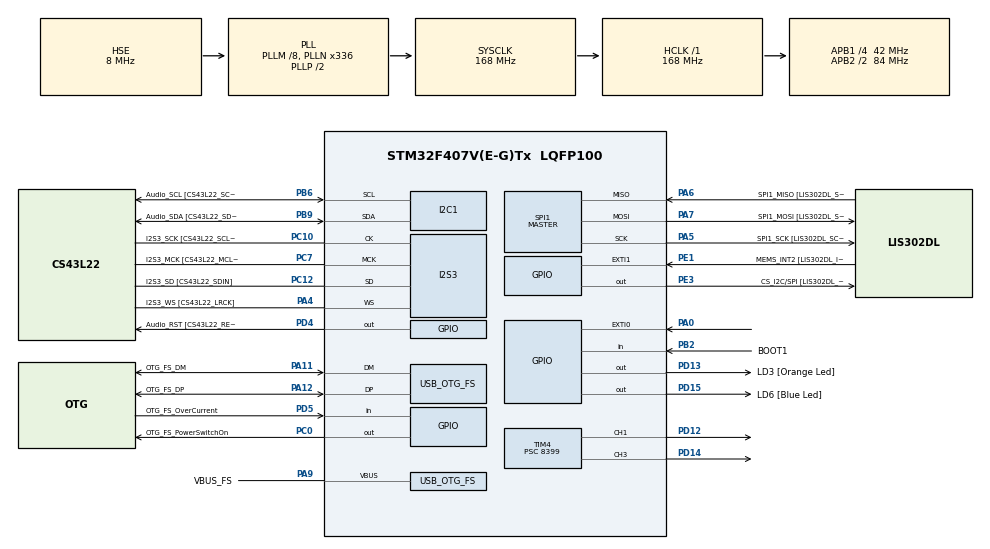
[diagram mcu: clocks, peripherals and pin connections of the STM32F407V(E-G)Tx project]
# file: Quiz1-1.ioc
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I2S3.AudioFreq-Half_Duplex_Master=I2S_AUDIOFREQ_96K
I2S3.ErrorAudioFreq=-2.34 %
I2S3.ErrorAudioFreq-Half_Duplex_Master=0.8 %
I2S3.FullDuplexMode=I2S_FULLDUPLEXMODE_DISABLE
I2S3.Instance=SPI$Index
I2S3.RealAudioFreq=93.75 KHz
I2S3.RealAudioFreq-Half_Duplex_Master=96.774 KHz
I2S3.VirtualMode=I2S_MODE_MASTER
Mcu.Family=STM32F4
Mcu.Name=STM32F407V(E-G)Tx
Mcu.Package=LQFP100
NVIC.EXTI0_IRQn=true\:1\:0\:true\:false\:true\:true\:true
NVIC.OTG_FS_IRQn=true\:0\:0\:false\:false\:true\:true\:true
NVIC.PriorityGroup=NVIC_PRIORITYGROUP_1
PA0-WKUP.Signal=GPXTI0
PA10.GPIO_Label=OTG_FS_ID
PA10.GPIO_Mode=GPIO_MODE_AF_PP
PA10.GPIO_PuPd=GPIO_NOPULL
PA10.GPIO_Speed=GPIO_SPEED_FREQ_LOW
PA10.Signal=USB_OTG_FS_ID
PA11.GPIO_Label=OTG_FS_DM
PA11.GPIO_Mode=GPIO_MODE_AF_PP
PA11.GPIO_PuPd=GPIO_NOPULL
PA11.GPIO_Speed=GPIO_SPEED_FREQ_LOW
PA11.Mode=Host_Only
PA11.Signal=USB_OTG_FS_DM
PA12.GPIO_Label=OTG_FS_DP
PA12.GPIO_Mode=GPIO_MODE_AF_PP
PA12.GPIO_PuPd=GPIO_NOPULL
PA12.GPIO_Speed=GPIO_SPEED_FREQ_LOW
PA12.Mode=Host_Only
PA12.Signal=USB_OTG_FS_DP
PA13.GPIO_Label=SWDIO
PA13.Mode=Serial_Wire
PA13.Signal=SYS_JTMS-SWDIO
PA14.GPIO_Label=SWCLK
PA14.Mode=Serial_Wire
PA14.Signal=SYS_JTCK-SWCLK
PA4.GPIO_Label=I2S3_WS [CS43L22_LRCK]
PA4.GPIO_Mode=GPIO_MODE_AF_PP
PA4.GPIO_PuPd=GPIO_NOPULL
PA4.GPIO_Speed=GPIO_SPEED_FREQ_LOW
PA4.Mode=Half_Duplex_Master
PA4.Signal=I2S3_WS
PA5.GPIO_Label=SPI1_SCK [LIS302DL_SCL/SPC]
PA5.GPIO_Mode=GPIO_MODE_AF_PP
PA5.GPIO_PuPd=GPIO_NOPULL
PA5.GPIO_Speed=GPIO_SPEED_FREQ_LOW
PA5.Mode=Full_Duplex_Master
PA5.Signal=SPI1_SCK
PA6.GPIO_Label=SPI1_MISO [LIS302DL_SDO]
PA6.GPIO_Mode=GPIO_MODE_AF_PP
PA6.GPIO_PuPd=GPIO_NOPULL
PA6.GPIO_Speed=GPIO_SPEED_FREQ_LOW
PA6.Mode=Full_Duplex_Master
PA6.Signal=SPI1_MISO
PA7.GPIO_Label=SPI1_MOSI [LIS302DL_SDA/SDI/SDO]
PA7.GPIO_Mode=GPIO_MODE_AF_PP
PA7.GPIO_PuPd=GPIO_NOPULL
PA7.GPIO_Speed=GPIO_SPEED_FREQ_LOW
PA7.Mode=Full_Duplex_Master
PA7.Signal=SPI1_MOSI
PA9.GPIO_Label=VBUS_FS
PA9.GPIO_Mode=GPIO_MODE_INPUT
PA9.GPIO_PuPd=GPIO_NOPULL
PA9.Mode=Activate_VBUS
PA9.Signal=USB_OTG_FS_VBUS
PB10.GPIO_Label=CLK_IN [MP45DT02_CLK]
PB10.GPIO_Mode=GPIO_MODE_AF_PP
PB10.GPIO_PuPd=GPIO_NOPULL
PB10.GPIO_Speed=GPIO_SPEED_FREQ_LOW
PB10.Signal=I2S2_CK
PB2.GPIO_Label=BOOT1
PB2.GPIO_Mode=GPIO_MODE_INPUT
PB2.GPIO_PuPd=GPIO_NOPULL
PB2.Signal=GPIO_Input
PB3.GPIO_Label=SWO
PB3.Signal=SYS_JTDO-SWO
PB6.GPIO_Label=Audio_SCL [CS43L22_SCL]
PB6.GPIO_Mode=GPIO_MODE_AF_OD
PB6.GPIO_PuPd=GPIO_NOPULL
PB6.GPIO_Speed=GPIO_SPEED_FREQ_LOW
PB6.Mode=I2C
PB6.Signal=I2C1_SCL
PB9.GPIO_Label=Audio_SDA [CS43L22_SDA]
PB9.GPIO_Mode=GPIO_MODE_AF_OD
PB9.GPIO_PuPd=GPIO_NOPULL
PB9.GPIO_Speed=GPIO_SPEED_FREQ_LOW
PB9.Mode=I2C
PB9.Signal=I2C1_SDA
PC0.GPIO_Label=OTG_FS_PowerSwitchOn
PC0.GPIO_PuPd=GPIO_NOPULL
PC0.GPIO_Speed=GPIO_SPEED_FREQ_LOW
PC0.PinState=GPIO_PIN_SET
PC0.Signal=GPIO_Output
PC10.GPIO_Label=I2S3_SCK [CS43L22_SCLK]
PC10.GPIO_Mode=GPIO_MODE_AF_PP
PC10.GPIO_PuPd=GPIO_NOPULL
PC10.GPIO_Speed=GPIO_SPEED_FREQ_LOW
PC10.Mode=Half_Duplex_Master
PC10.Signal=I2S3_CK
PC12.GPIO_Label=I2S3_SD [CS43L22_SDIN]
PC12.GPIO_Mode=GPIO_MODE_AF_PP
PC12.GPIO_PuPd=GPIO_NOPULL
PC12.GPIO_Speed=GPIO_SPEED_FREQ_LOW
PC12.Mode=Half_Duplex_Master
PC12.Signal=I2S3_SD
PC14-OSC32_IN.GPIO_Label=PC14-OSC32_IN
PC14-OSC32_IN.Mode=LSE-External-Oscillator
PC14-OSC32_IN.Signal=RCC_OSC32_IN
PC15-OSC32_OUT.GPIO_Label=PC15-OSC32_OUT
PC15-OSC32_OUT.Mode=LSE-External-Oscillator
PC15-OSC32_OUT.Signal=RCC_OSC32_OUT
PC3.GPIO_Label=PDM_OUT [MP45DT02_DOUT]
PC3.GPIO_Mode=GPIO_MODE_AF_PP
PC3.GPIO_PuPd=GPIO_NOPULL
PC3.GPIO_Speed=GPIO_SPEED_FREQ_LOW
PC3.Signal=I2S2_SD
PC7.GPIO_Label=I2S3_MCK [CS43L22_MCLK]
PC7.GPIO_Mode=GPIO_MODE_AF_PP
PC7.GPIO_PuPd=GPIO_NOPULL
PC7.GPIO_Speed=GPIO_SPEED_FREQ_LOW
PC7.Mode=Master_Clock_Activated
PC7.Signal=I2S3_MCK
PD12.Signal=S_TIM4_CH1
PD13.GPIO_Label=LD3 [Orange Led]
PD13.GPIO_PuPd=GPIO_NOPULL
PD13.GPIO_Speed=GPIO_SPEED_FREQ_LOW
PD13.Signal=GPIO_Output
PD14.Signal=S_TIM4_CH3
PD15.GPIO_Label=LD6 [Blue Led]
PD15.GPIO_PuPd=GPIO_NOPULL
PD15.GPIO_Speed=GPIO_SPEED_FREQ_LOW
PD15.Signal=GPIO_Output
PD4.GPIO_Label=Audio_RST [CS43L22_RESET]
PD4.GPIO_PuPd=GPIO_NOPULL
PD4.GPIO_Speed=GPIO_SPEED_FREQ_LOW
PD4.Signal=GPIO_Output
PD5.GPIO_Label=OTG_FS_OverCurrent
PD5.GPIO_Mode=GPIO_MODE_INPUT
PD5.GPIO_PuPd=GPIO_NOPULL
PD5.Signal=GPIO_Input
PE1.GPIO_Label=MEMS_INT2 [LIS302DL_INT2]
PE1.GPIO_ModeDefaultEXTI=GPIO_MODE_EVT_RISING
PE1.GPIO_PuPd=GPIO_NOPULL
PE1.Signal=GPXTI1
PE3.GPIO_Label=CS_I2C/SPI [LIS302DL_CS_I2C/SPI]
PE3.GPIO_PuPd=GPIO_NOPULL
PE3.GPIO_Speed=GPIO_SPEED_FREQ_LOW
PE3.Signal=GPIO_Output
PH0-OSC_IN.GPIO_Label=PH0-OSC_IN
PH0-OSC_IN.Mode=HSE-External-Oscillator
PH0-OSC_IN.Signal=RCC_OSC_IN
PH1-OSC_OUT.GPIO_Label=PH1-OSC_OUT
PH1-OSC_OUT.Mode=HSE-External-Oscillator
PH1-OSC_OUT.Signal=RCC_OSC_OUT
ProjectManager.HeapSize=0x200
ProjectManager.StackSize=0x400
ProjectManager.TargetToolchain=STM32CubeIDE
RCC.48MHZClocksFreq_Value=48000000
RCC.AHBFreq_Value=168000000
RCC.APB1CLKDivider=RCC_HCLK_DIV4
RCC.APB1Freq_Value=42000000
RCC.APB1TimFreq_Value=84000000
RCC.APB2CLKDivider=RCC_HCLK_DIV2
RCC.APB2Freq_Value=84000000
RCC.APB2TimFreq_Value=168000000
RCC.CortexFreq_Value=168000000
RCC.HCLKFreq_Value=168000000
RCC.HSE_VALUE=8000000
RCC.HSI_VALUE=16000000
RCC.PLLM=8
RCC.PLLN=336
RCC.PLLQ=7
RCC.SYSCLKFreq_VALUE=168000000
RCC.SYSCLKSource=RCC_SYSCLKSOURCE_PLLCLK
RCC.VCOOutputFreq_Value=336000000
SH.S_TIM4_CH1.0=TIM4_CH1,PWM Generation1 CH1
SH.S_TIM4_CH3.0=TIM4_CH3,PWM Generation3 CH3
SPI1.BaudRatePrescaler-Full_Duplex_Master=SPI_BAUDRATEPRESCALER_2
SPI1.CalculateBaudRate-Full_Duplex_Master=42.0 MBits/s
SPI1.Direction=SPI_DIRECTION_2LINES
SPI1.Mode=SPI_MODE_MASTER
SPI1.Mode-Full_Duplex_Master=SPI_MODE_MASTER
SPI1.VirtualType=VM_MASTER
TIM4.AutoReloadPreload=TIM_AUTORELOAD_PRELOAD_ENABLE
TIM4.Channel-PWM\ Generation1\ CH1=TIM_CHANNEL_1
TIM4.Channel-PWM\ Generation3\ CH3=TIM_CHANNEL_3
TIM4.Period=1499
TIM4.Prescaler=8399
TIM4.Pulse-PWM\ Generation1\ CH1=750
TIM4.Pulse-PWM\ Generation3\ CH3=750
USB_HOST.BSP.number=1
USB_HOST.USBH_HandleTypeDef-CDC_FS=hUsbHostFS
USB_HOST.VirtualModeFS=Cdc
USB_HOST0.BSP.STBoard=false
USB_HOST0.BSP.api=Unknown
USB_HOST0.BSP.i2caddr=0
USB_HOST0.BSP.i2creg=0
USB_HOST0.BSP.instance=PC0
USB_HOST0.BSP.ip=GPIO
USB_HOST0.BSP.mode=Output
USB_HOST0.BSP.name=Drive_VBUS_FS
USB_HOST0.BSP.solution=PC0
USB_OTG_FS.VirtualMode=Host_Only
USB_OTG_FS.phy_itface=HCD_PHY_EMBEDDED
VP_TIM4_VS_ClockSourceINT.Mode=Internal
VP_USB_HOST_VS_USB_HOST_CDC_FS.Mode=CDC_FS
board=STM32F4DISCOVERY

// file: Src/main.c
/* USER CODE BEGIN Header */
/**
  ******************************************************************************
  * @file           : main.c
  * @brief          : Main program body
  ******************************************************************************
  * @attention
  *
  * <h2><center>&copy; Copyright (c) 2019 STMicroelectronics.
  * All rights reserved.</center></h2>
  *
  * This software component is licensed by ST under Ultimate Liberty license
  * SLA0044, the "License"; You may not use this file except in compliance with
  * the License. You may obtain a copy of the License at:
  *                             www.st.com/SLA0044
  *
  ******************************************************************************
  */
/* USER CODE END Header */

#include "main.h"
#include "usb_host.h"

I2C_HandleTypeDef hi2c1;

I2S_HandleTypeDef hi2s3;

SPI_HandleTypeDef hspi1;

TIM_HandleTypeDef htim4;

void SystemClock_Config(void);
static void MX_GPIO_Init(void);
static void MX_I2C1_Init(void);
static void MX_I2S3_Init(void);
static void MX_SPI1_Init(void);
static void MX_TIM4_Init(void);
void MX_USB_HOST_Process(void);

/* USER CODE BEGIN 0 */
void HAL_GPIO_EXTI_Callback(uint16_t GPIO_Pin)
{
  /* Prevent unused argument(s) compilation warning */
  UNUSED(GPIO_Pin);
  /* NOTE: This function Should not be modified, when the callback is needed,
           the HAL_GPIO_EXTI_Callback could be implemented in the user file
   */
//  HAL_GPIO_TogglePin(GPIOD, GPIO_PIN_13);

  switch(TIM4->ARR){
  case 1499:
	  TIM4->ARR = 299;
	  break;
  default:
	  TIM4->ARR = 1499;
	  break;
  }

  TIM4->CNT = 0;
  TIM4->CCR1 = TIM4->ARR / 2;
  TIM4->CCR3 = TIM4->ARR / 2;
  HAL_Delay(100);
  __HAL_GPIO_EXTI_CLEAR_IT(GPIO_Pin);

}
/* USER CODE END 0 */

int main(void)
{

  /* MCU Configuration--------------------------------------------------------*/

  /* Reset of all peripherals, Initializes the Flash interface and the Systick. */
  HAL_Init();

  /* Configure the system clock */
  SystemClock_Config();

  /* Initialize all configured peripherals */
  MX_GPIO_Init();
  MX_I2C1_Init();
  MX_I2S3_Init();
  MX_SPI1_Init();
  MX_USB_HOST_Init();
  MX_TIM4_Init();
  /* USER CODE BEGIN 2 */
  HAL_TIM_PWM_Start(&htim4, TIM_CHANNEL_1);
  HAL_TIM_PWM_Start(&htim4, TIM_CHANNEL_3);
  /* USER CODE END 2 */

  /* Infinite loop */
  while (1)
  {
    MX_USB_HOST_Process();

  }
}

void SystemClock_Config(void)
{
  RCC_OscInitTypeDef RCC_OscInitStruct = {0};
  RCC_ClkInitTypeDef RCC_ClkInitStruct = {0};
  RCC_PeriphCLKInitTypeDef PeriphClkInitStruct = {0};

  /** Configure the main internal regulator output voltage
  */
  __HAL_RCC_PWR_CLK_ENABLE();
  __HAL_PWR_VOLTAGESCALING_CONFIG(PWR_REGULATOR_VOLTAGE_SCALE1);
  /** Initializes the CPU, AHB and APB busses clocks
  */
  RCC_OscInitStruct.OscillatorType = RCC_OSCILLATORTYPE_HSE;
  RCC_OscInitStruct.HSEState = RCC_HSE_ON;
  RCC_OscInitStruct.PLL.PLLState = RCC_PLL_ON;
  RCC_OscInitStruct.PLL.PLLSource = RCC_PLLSOURCE_HSE;
  RCC_OscInitStruct.PLL.PLLM = 8;
  RCC_OscInitStruct.PLL.PLLN = 336;
  RCC_OscInitStruct.PLL.PLLP = RCC_PLLP_DIV2;
  RCC_OscInitStruct.PLL.PLLQ = 7;
  if (HAL_RCC_OscConfig(&RCC_OscInitStruct) != HAL_OK)
  {
    Error_Handler();
  }
  /** Initializes the CPU, AHB and APB busses clocks
  */
  RCC_ClkInitStruct.ClockType = RCC_CLOCKTYPE_HCLK|RCC_CLOCKTYPE_SYSCLK
                              |RCC_CLOCKTYPE_PCLK1|RCC_CLOCKTYPE_PCLK2;
  RCC_ClkInitStruct.SYSCLKSource = RCC_SYSCLKSOURCE_PLLCLK;
  RCC_ClkInitStruct.AHBCLKDivider = RCC_SYSCLK_DIV1;
  RCC_ClkInitStruct.APB1CLKDivider = RCC_HCLK_DIV4;
  RCC_ClkInitStruct.APB2CLKDivider = RCC_HCLK_DIV2;

  if (HAL_RCC_ClockConfig(&RCC_ClkInitStruct, FLASH_LATENCY_5) != HAL_OK)
  {
    Error_Handler();
  }
  PeriphClkInitStruct.PeriphClockSelection = RCC_PERIPHCLK_I2S;
  PeriphClkInitStruct.PLLI2S.PLLI2SN = 192;
  PeriphClkInitStruct.PLLI2S.PLLI2SR = 2;
  if (HAL_RCCEx_PeriphCLKConfig(&PeriphClkInitStruct) != HAL_OK)
  {
    Error_Handler();
  }
}

static void MX_I2C1_Init(void)
{

  hi2c1.Instance = I2C1;
  hi2c1.Init.ClockSpeed = 100000;
  hi2c1.Init.DutyCycle = I2C_DUTYCYCLE_2;
  hi2c1.Init.OwnAddress1 = 0;
  hi2c1.Init.AddressingMode = I2C_ADDRESSINGMODE_7BIT;
  hi2c1.Init.DualAddressMode = I2C_DUALADDRESS_DISABLE;
  hi2c1.Init.OwnAddress2 = 0;
  hi2c1.Init.GeneralCallMode = I2C_GENERALCALL_DISABLE;
  hi2c1.Init.NoStretchMode = I2C_NOSTRETCH_DISABLE;
  if (HAL_I2C_Init(&hi2c1) != HAL_OK)
  {
    Error_Handler();
  }

}

static void MX_I2S3_Init(void)
{

  hi2s3.Instance = SPI3;
  hi2s3.Init.Mode = I2S_MODE_MASTER_TX;
  hi2s3.Init.Standard = I2S_STANDARD_PHILIPS;
  hi2s3.Init.DataFormat = I2S_DATAFORMAT_16B;
  hi2s3.Init.MCLKOutput = I2S_MCLKOUTPUT_ENABLE;
  hi2s3.Init.AudioFreq = I2S_AUDIOFREQ_96K;
  hi2s3.Init.CPOL = I2S_CPOL_LOW;
  hi2s3.Init.ClockSource = I2S_CLOCK_PLL;
  hi2s3.Init.FullDuplexMode = I2S_FULLDUPLEXMODE_DISABLE;
  if (HAL_I2S_Init(&hi2s3) != HAL_OK)
  {
    Error_Handler();
  }

}

static void MX_SPI1_Init(void)
{

  /* SPI1 parameter configuration*/
  hspi1.Instance = SPI1;
  hspi1.Init.Mode = SPI_MODE_MASTER;
  hspi1.Init.Direction = SPI_DIRECTION_2LINES;
  hspi1.Init.DataSize = SPI_DATASIZE_8BIT;
  hspi1.Init.CLKPolarity = SPI_POLARITY_LOW;
  hspi1.Init.CLKPhase = SPI_PHASE_1EDGE;
  hspi1.Init.NSS = SPI_NSS_SOFT;
  hspi1.Init.BaudRatePrescaler = SPI_BAUDRATEPRESCALER_2;
  hspi1.Init.FirstBit = SPI_FIRSTBIT_MSB;
  hspi1.Init.TIMode = SPI_TIMODE_DISABLE;
  hspi1.Init.CRCCalculation = SPI_CRCCALCULATION_DISABLE;
  hspi1.Init.CRCPolynomial = 10;
  if (HAL_SPI_Init(&hspi1) != HAL_OK)
  {
    Error_Handler();
  }

}

static void MX_TIM4_Init(void)
{

  TIM_ClockConfigTypeDef sClockSourceConfig = {0};
  TIM_MasterConfigTypeDef sMasterConfig = {0};
  TIM_OC_InitTypeDef sConfigOC = {0};

  htim4.Instance = TIM4;
  htim4.Init.Prescaler = 8399;
  htim4.Init.CounterMode = TIM_COUNTERMODE_UP;
  htim4.Init.Period = 1499;
  htim4.Init.ClockDivision = TIM_CLOCKDIVISION_DIV1;
  htim4.Init.AutoReloadPreload = TIM_AUTORELOAD_PRELOAD_ENABLE;
  if (HAL_TIM_Base_Init(&htim4) != HAL_OK)
  {
    Error_Handler();
  }
  sClockSourceConfig.ClockSource = TIM_CLOCKSOURCE_INTERNAL;
  if (HAL_TIM_ConfigClockSource(&htim4, &sClockSourceConfig) != HAL_OK)
  {
    Error_Handler();
  }
  if (HAL_TIM_PWM_Init(&htim4) != HAL_OK)
  {
    Error_Handler();
  }
  sMasterConfig.MasterOutputTrigger = TIM_TRGO_RESET;
  sMasterConfig.MasterSlaveMode = TIM_MASTERSLAVEMODE_DISABLE;
  if (HAL_TIMEx_MasterConfigSynchronization(&htim4, &sMasterConfig) != HAL_OK)
  {
    Error_Handler();
  }
  sConfigOC.OCMode = TIM_OCMODE_PWM1;
  sConfigOC.Pulse = 750;
  sConfigOC.OCPolarity = TIM_OCPOLARITY_HIGH;
  sConfigOC.OCFastMode = TIM_OCFAST_DISABLE;
  if (HAL_TIM_PWM_ConfigChannel(&htim4, &sConfigOC, TIM_CHANNEL_1) != HAL_OK)
  {
    Error_Handler();
  }
  if (HAL_TIM_PWM_ConfigChannel(&htim4, &sConfigOC, TIM_CHANNEL_3) != HAL_OK)
  {
    Error_Handler();
  }
  HAL_TIM_MspPostInit(&htim4);

}

static void MX_GPIO_Init(void)
{
  GPIO_InitTypeDef GPIO_InitStruct = {0};

  /* GPIO Ports Clock Enable */
  __HAL_RCC_GPIOE_CLK_ENABLE();
  __HAL_RCC_GPIOC_CLK_ENABLE();
  __HAL_RCC_GPIOH_CLK_ENABLE();
  __HAL_RCC_GPIOA_CLK_ENABLE();
  __HAL_RCC_GPIOB_CLK_ENABLE();
  __HAL_RCC_GPIOD_CLK_ENABLE();

  /*Configure GPIO pin Output Level */
  HAL_GPIO_WritePin(CS_I2C_SPI_GPIO_Port, CS_I2C_SPI_Pin, GPIO_PIN_RESET);

  /*Configure GPIO pin Output Level */
  HAL_GPIO_WritePin(OTG_FS_PowerSwitchOn_GPIO_Port, OTG_FS_PowerSwitchOn_Pin, GPIO_PIN_SET);

  /*Configure GPIO pin Output Level */
  HAL_GPIO_WritePin(GPIOD, LD3_Pin|LD6_Pin|Audio_RST_Pin, GPIO_PIN_RESET);

  /*Configure GPIO pin : CS_I2C_SPI_Pin */
  GPIO_InitStruct.Pin = CS_I2C_SPI_Pin;
  GPIO_InitStruct.Mode = GPIO_MODE_OUTPUT_PP;
  GPIO_InitStruct.Pull = GPIO_NOPULL;
  GPIO_InitStruct.Speed = GPIO_SPEED_FREQ_LOW;
  HAL_GPIO_Init(CS_I2C_SPI_GPIO_Port, &GPIO_InitStruct);

  /*Configure GPIO pin : OTG_FS_PowerSwitchOn_Pin */
  GPIO_InitStruct.Pin = OTG_FS_PowerSwitchOn_Pin;
  GPIO_InitStruct.Mode = GPIO_MODE_OUTPUT_PP;
  GPIO_InitStruct.Pull = GPIO_NOPULL;
  GPIO_InitStruct.Speed = GPIO_SPEED_FREQ_LOW;
  HAL_GPIO_Init(OTG_FS_PowerSwitchOn_GPIO_Port, &GPIO_InitStruct);

  /*Configure GPIO pin : PDM_OUT_Pin */
  GPIO_InitStruct.Pin = PDM_OUT_Pin;
  GPIO_InitStruct.Mode = GPIO_MODE_AF_PP;
  GPIO_InitStruct.Pull = GPIO_NOPULL;
  GPIO_InitStruct.Speed = GPIO_SPEED_FREQ_LOW;
  GPIO_InitStruct.Alternate = GPIO_AF5_SPI2;
  HAL_GPIO_Init(PDM_OUT_GPIO_Port, &GPIO_InitStruct);

  /*Configure GPIO pin : PA0 */
  GPIO_InitStruct.Pin = GPIO_PIN_0;
  GPIO_InitStruct.Mode = GPIO_MODE_IT_RISING;
  GPIO_InitStruct.Pull = GPIO_NOPULL;
  HAL_GPIO_Init(GPIOA, &GPIO_InitStruct);

  /*Configure GPIO pin : BOOT1_Pin */
  GPIO_InitStruct.Pin = BOOT1_Pin;
  GPIO_InitStruct.Mode = GPIO_MODE_INPUT;
  GPIO_InitStruct.Pull = GPIO_NOPULL;
  HAL_GPIO_Init(BOOT1_GPIO_Port, &GPIO_InitStruct);

  /*Configure GPIO pin : CLK_IN_Pin */
  GPIO_InitStruct.Pin = CLK_IN_Pin;
  GPIO_InitStruct.Mode = GPIO_MODE_AF_PP;
  GPIO_InitStruct.Pull = GPIO_NOPULL;
  GPIO_InitStruct.Speed = GPIO_SPEED_FREQ_LOW;
  GPIO_InitStruct.Alternate = GPIO_AF5_SPI2;
  HAL_GPIO_Init(CLK_IN_GPIO_Port, &GPIO_InitStruct);

  /*Configure GPIO pins : LD3_Pin LD6_Pin Audio_RST_Pin */
  GPIO_InitStruct.Pin = LD3_Pin|LD6_Pin|Audio_RST_Pin;
  GPIO_InitStruct.Mode = GPIO_MODE_OUTPUT_PP;
  GPIO_InitStruct.Pull = GPIO_NOPULL;
  GPIO_InitStruct.Speed = GPIO_SPEED_FREQ_LOW;
  HAL_GPIO_Init(GPIOD, &GPIO_InitStruct);

  /*Configure GPIO pin : OTG_FS_OverCurrent_Pin */
  GPIO_InitStruct.Pin = OTG_FS_OverCurrent_Pin;
  GPIO_InitStruct.Mode = GPIO_MODE_INPUT;
  GPIO_InitStruct.Pull = GPIO_NOPULL;
  HAL_GPIO_Init(OTG_FS_OverCurrent_GPIO_Port, &GPIO_InitStruct);

  /*Configure GPIO pin : MEMS_INT2_Pin */
  GPIO_InitStruct.Pin = MEMS_INT2_Pin;
  GPIO_InitStruct.Mode = GPIO_MODE_EVT_RISING;
  GPIO_InitStruct.Pull = GPIO_NOPULL;
  HAL_GPIO_Init(MEMS_INT2_GPIO_Port, &GPIO_InitStruct);

  /* EXTI interrupt init*/
  HAL_NVIC_SetPriority(EXTI0_IRQn, 1, 0);
  HAL_NVIC_EnableIRQ(EXTI0_IRQn);

}

void Error_Handler(void)
{
}

/************************ (C) COPYRIGHT STMicroelectronics *****END OF FILE****/
